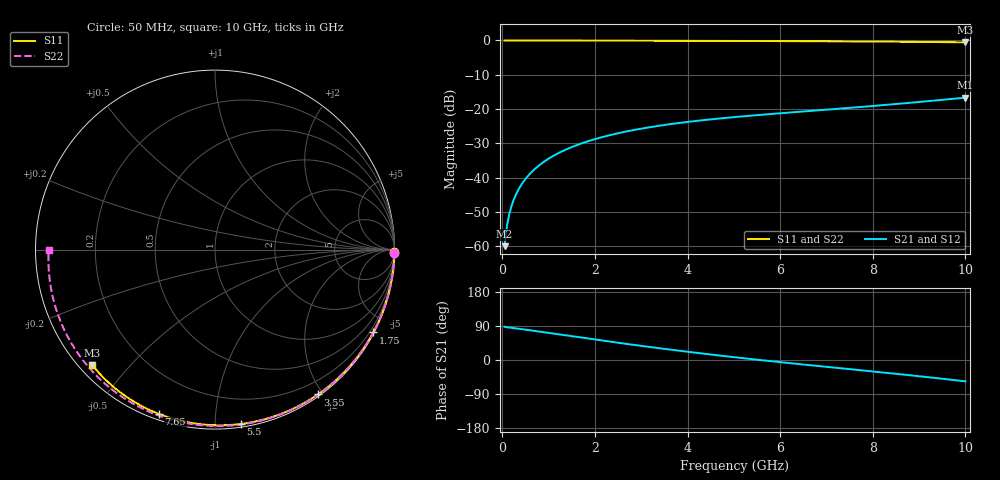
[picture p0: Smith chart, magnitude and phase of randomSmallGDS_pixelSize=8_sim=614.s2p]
! freq	dB(S11)	phase(S11)	dB(S12)	phase(S12)
!  dB(S21)	phase(S21)	dB(S22)	phase(S22)
!S-par simulation data
#  GHz  S  DB  R 50
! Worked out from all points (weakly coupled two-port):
!   200 points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, 50 MHz to 10 GHz, reference 50 ohm
!   highest |S21| = -16.67 dB at 10 GHz (marker M1); lowest = -60.0 dB at 50 MHz (marker M2)
!   lowest |S11| = -0.5 dB at 10 GHz (marker M3), VSWR 31.60, Z = 1.83 - j19.8 ohm
!   |S11| at or under -10 dB: nowhere
!   |S22| runs from -0.7 to 0.0 dB; largest |S21 - S12| = 0
!   S11 on the Smith chart (normalised r, x): 50 MHz: open; 1.75 GHz: 0.04, -4.07; 3.55 GHz: 0.02, -1.94; 5.5 GHz: 0.02, -1.16; 7.65 GHz: 0.02, -0.71; 10 GHz: 0.04, -0.40
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0.05  -0.00 -0.8  -59.98 87.7  -59.98 87.7  -0.00 -1.0
0.1  -0.00 -1.6  -54.11 86.5  -54.11 86.5  -0.00 -2.1
0.15  -0.00 -2.4  -50.69 85.7  -50.69 85.7  -0.00 -3.1
0.2  -0.00 -3.2  -48.25 85.0  -48.25 85.0  -0.00 -4.2
0.25  -0.00 -4.0  -46.34 84.3  -46.34 84.3  -0.00 -5.2
0.35  -0.00 -5.6  -43.46 82.7  -43.46 82.7  -0.01 -7.3
0.5  -0.01 -8.0  -40.39 80.2  -40.39 80.2  -0.01 -10.4
0.7  -0.01 -11.2  -37.51 76.7  -37.51 76.7  -0.02 -14.5
1  -0.02 -15.9  -34.47 71.4  -34.47 71.4  -0.03 -20.6
1.35  -0.03 -21.4  -31.96 65.2  -31.96 65.2  -0.04 -27.7
1.75  -0.04 -27.6  -29.83 58.2  -29.83 58.2  -0.05 -35.7
2.6  -0.06 -40.6  -26.76 43.8  -26.76 43.8  -0.08 -52.3
3.4  -0.08 -52.4  -24.84 30.9  -24.84 30.9  -0.10 -67.4
3.55  -0.09 -54.6  -24.55 28.6  -24.55 28.6  -0.11 -70.1
4.3  -0.11 -65.3  -23.29 17.4  -23.29 17.4  -0.14 -83.6
5.05  -0.14 -75.6  -22.29 6.8  -22.29 6.8  -0.17 -96.7
5.5  -0.16 -81.6  -21.77 0.8  -21.77 0.8  -0.19 -104.3
6.7  -0.22 -97.1  -20.50 -14.4  -20.50 -14.4  -0.27 -124.1
7.65  -0.29 -108.9  -19.49 -26.0  -19.49 -26.0  -0.35 -139.5
8.35  -0.35 -117.3  -18.71 -34.5  -18.71 -34.5  -0.43 -151.0
9.2  -0.44 -127.3  -17.69 -45.4  -17.69 -45.4  -0.54 -165.4
10  -0.55 -136.7  -16.67 -56.3  -16.67 -56.3  -0.66 -179.7
